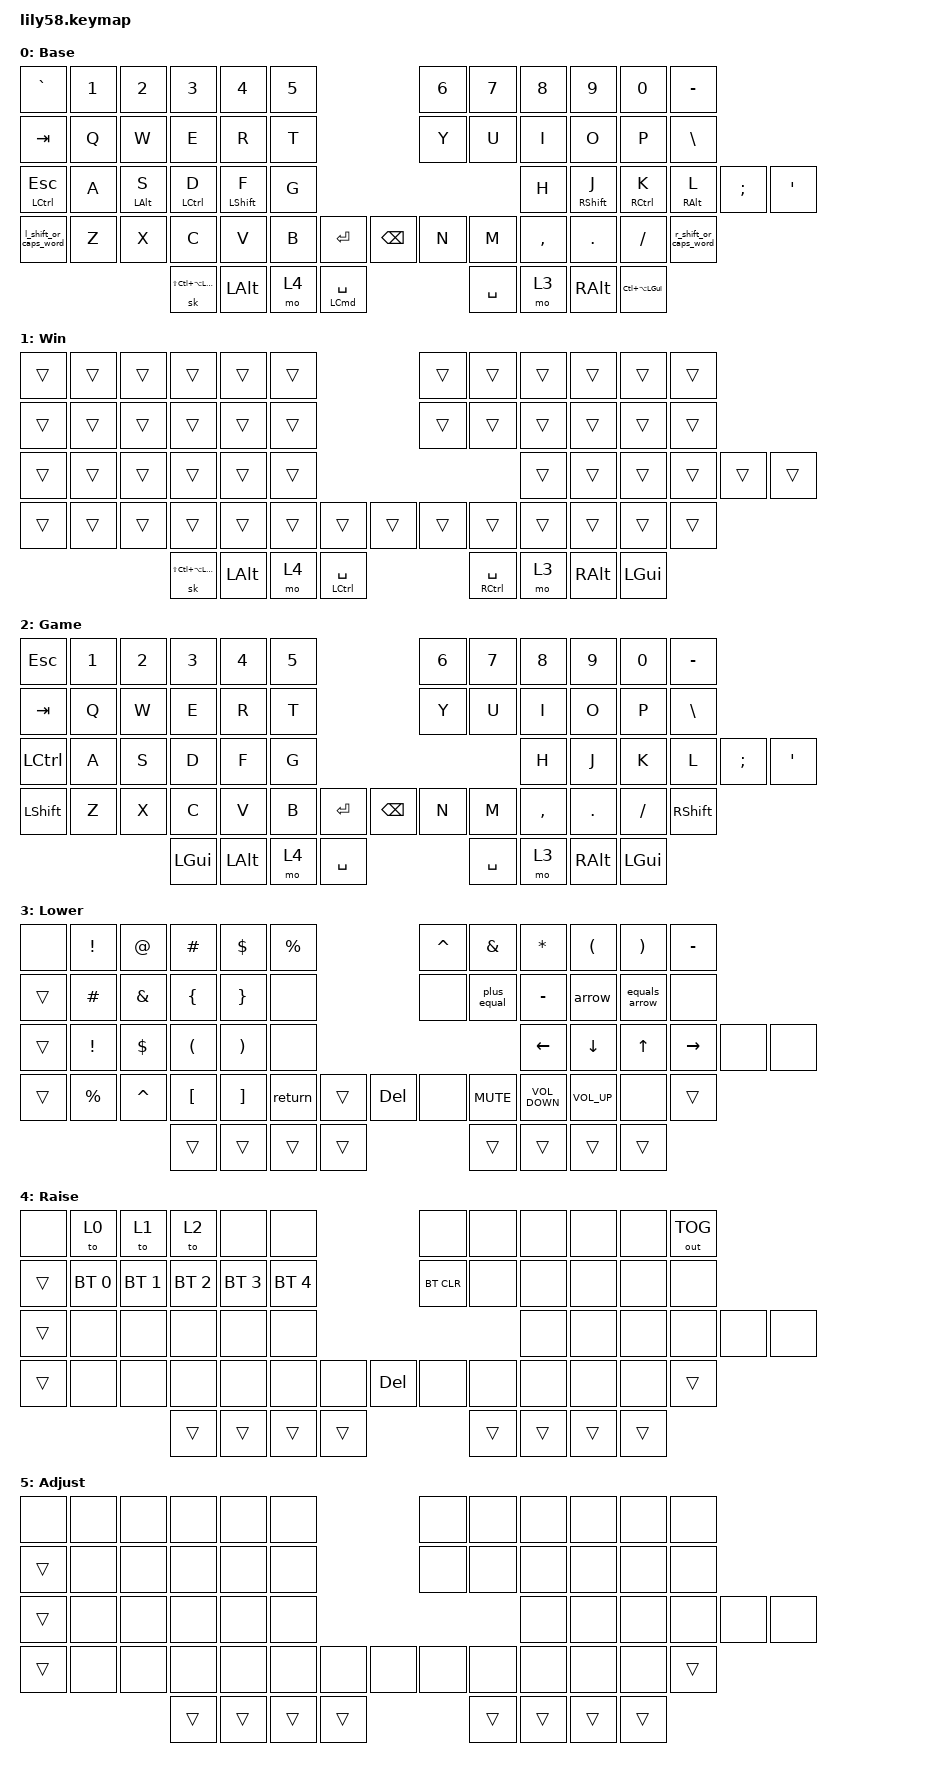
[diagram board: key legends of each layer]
/*
 * Copyright (c) 2020 The ZMK Contributors
 *
 * SPDX-License-Identifier: MIT
 */

#include <behaviors.dtsi>
#include <dt-bindings/zmk/bt.h>
#include <dt-bindings/zmk/keys.h>
#include <dt-bindings/zmk/outputs.h>

// Match QMK: TAPPING_TERM 250 + HOLD_ON_OTHER_KEY_PRESS (hold-preferred is the &mt default).
&mt {
    tapping-term-ms = <250>;
};

/ {
    behaviors {
        hrm: home_row_mod {
            compatible = "zmk,behavior-hold-tap";
            #binding-cells = <2>;
            flavor = "balanced";
            tapping-term-ms = <250>;
            require-prior-idle-ms = <150>;
            quick-tap-ms = <200>;
            bindings = <&kp>, <&kp>;
        };

        plus_equal: plus_equal {
            compatible = "zmk,behavior-mod-morph";
            #binding-cells = <0>;
            bindings = <&kp PLUS>, <&kp EQUAL>;
            mods = <(MOD_LSFT|MOD_RSFT)>;
        };

        // Tap = shift (hold to shift), double-tap = caps word.
        // Mirrors QMK's DOUBLE_TAP_SHIFT_TURNS_ON_CAPS_WORD (global) feature.
        l_shift_or_caps_word: l_shift_or_caps_word {
            compatible = "zmk,behavior-tap-dance";
            label = "L Shift or Caps Word";
            #binding-cells = <0>;
            tapping-term-ms = <250>;
            bindings = <&kp LEFT_SHIFT>, <&caps_word>;
        };

        r_shift_or_caps_word: r_shift_or_caps_word {
            compatible = "zmk,behavior-tap-dance";
            label = "R Shift or Caps Word";
            #binding-cells = <0>;
            tapping-term-ms = <250>;
            bindings = <&kp RIGHT_SHIFT>, <&caps_word>;
        };
    };

    macros {
        arrow: arrow {
            compatible = "zmk,behavior-macro";
            #binding-cells = <0>;
            bindings = <&kp MINUS &kp GREATER_THAN>;
            label = "ARROW";
        };

        equals_arrow: equals_arrow {
            compatible = "zmk,behavior-macro";
            #binding-cells = <0>;
            bindings = <&kp EQUAL &kp GREATER_THAN>;
            label = "EQUALS_ARROW";
        };

        return: return {
            compatible = "zmk,behavior-macro";
            #binding-cells = <0>;
            bindings = <&kp R &kp E &kp T &kp U &kp R &kp N>;
            label = "RETURN";
        };
    };

    // Windows shortcuts — active only on the Win (1) layer.
    combos {
        compatible = "zmk,combos";

        combo_win_key {
            bindings = <&kp LEFT_WIN>;
            timeout-ms = <170>;
            key-positions = <53 54>;
            layers = <1>;
        };

        combo_quit {
            bindings = <&kp LA(F4)>;
            timeout-ms = <170>;
            key-positions = <53 13>;
            layers = <1>;
        };

        combo_lock {
            bindings = <&kp LG(L)>;
            key-positions = <53 13 24>;
            timeout-ms = <200>;
            layers = <1>;
        };

        combo_lock_right {
            bindings = <&kp LG(L)>;
            key-positions = <13 24 54>;
            timeout-ms = <200>;
            layers = <1>;
        };

        combo_ctrl_alt_delete {
            bindings = <&kp LA(LC(ESCAPE))>;
            key-positions = <53 51 24>;
            timeout-ms = <200>;
            layers = <1>;
        };

        combo_halt_alt {
            bindings = <&kp LA(LC(ESCAPE))>;
            key-positions = <51 54 24>;
            timeout-ms = <200>;
            layers = <1>;
        };

        combo_screen_shot {
            bindings = <&kp LG(LS(S))>;
            key-positions = <53 4 36>;
            timeout-ms = <170>;
            layers = <1>;
        };
    };

    conditional_layers {
        compatible = "zmk,conditional-layers";

        adjust_layer {
            if-layers = <3 4>;
            then-layer = <5>;
        };
    };

    keymap {
        compatible = "zmk,keymap";

        // Layer 0 — Base (macOS / QWERTY)
        Base {
            display-name = "Base";
            bindings = <
&kp GRAVE              &kp N1  &kp N2  &kp N3  &kp N4  &kp N5                                       &kp N6  &kp N7  &kp N8     &kp N9   &kp N0    &kp MINUS
&kp TAB                &kp Q   &kp W   &kp E   &kp R   &kp T                                        &kp Y   &kp U   &kp I      &kp O    &kp P     &kp BACKSLASH
&mt LCTRL ESCAPE       &kp A   &hrm LALT S   &hrm LCTRL D   &hrm LSHFT F   &kp G                    &kp H   &hrm RSHFT J   &hrm RCTRL K   &hrm RALT L   &kp SEMI  &kp SQT
&l_shift_or_caps_word  &kp Z   &kp X   &kp C   &kp V   &kp B   &kp ENTER          &kp BACKSPACE     &kp N   &kp M   &kp COMMA  &kp DOT  &kp FSLH  &r_shift_or_caps_word
                                       &sk LS(LC(LA(LGUI)))  &kp LALT  &mo 4  &mt LEFT_COMMAND SPACE    &kp SPACE  &mo 3  &kp RIGHT_ALT  &kp LC(LA(LGUI))
            >;
        };

        // Layer 1 — Windows
        Win {
            display-name = "Win";
            bindings = <
&trans  &trans  &trans  &trans  &trans  &trans                                        &trans  &trans  &trans  &trans  &trans  &trans
&trans  &trans  &trans  &trans  &trans  &trans                                        &trans  &trans  &trans  &trans  &trans  &trans
&trans  &trans  &trans  &trans  &trans  &trans                                        &trans  &trans  &trans  &trans  &trans  &trans
&trans  &trans  &trans  &trans  &trans  &trans  &trans              &trans            &trans  &trans  &trans  &trans  &trans  &trans
                        &sk LS(LC(LA(LGUI)))  &kp LALT  &mo 4  &mt LCTRL SPACE    &mt RCTRL SPACE  &mo 3  &kp RIGHT_ALT  &kp LGUI
            >;
        };

        // Layer 2 — Game (plain modifiers, no mod-taps, for responsiveness)
        Game {
            display-name = "Game";
            bindings = <
&kp ESC    &kp N1  &kp N2  &kp N3  &kp N4  &kp N5                                    &kp N6  &kp N7  &kp N8     &kp N9   &kp N0    &kp MINUS
&kp TAB    &kp Q   &kp W   &kp E   &kp R   &kp T                                     &kp Y   &kp U   &kp I      &kp O    &kp P     &kp BACKSLASH
&kp LCTRL  &kp A   &kp S   &kp D   &kp F   &kp G                                     &kp H   &kp J   &kp K      &kp L    &kp SEMI  &kp SQT
&kp LSHFT  &kp Z   &kp X   &kp C   &kp V   &kp B   &kp ENTER          &kp BACKSPACE  &kp N   &kp M   &kp COMMA  &kp DOT  &kp FSLH  &kp RSHFT
                                   &kp LGUI  &kp LALT  &mo 4  &kp SPACE    &kp SPACE  &mo 3  &kp RIGHT_ALT  &kp LGUI
            >;
        };

        // Layer 3 — Lower (symbols / arrows / media)
        Lower {
            display-name = "Lower";
            bindings = <
&none   &kp EXCLAMATION  &kp AT_SIGN    &kp HASH              &kp DOLLAR             &kp PERCENT                        &kp CARET       &kp AMPERSAND  &kp ASTERISK       &kp LEFT_PARENTHESIS  &kp RIGHT_PARENTHESIS  &kp MINUS
&trans  &kp HASH         &kp AMPERSAND  &kp LEFT_BRACE        &kp RIGHT_BRACE        &none                              &none           &plus_equal    &kp MINUS          &arrow                &equals_arrow          &none
&trans  &kp EXCLAMATION  &kp DOLLAR     &kp LEFT_PARENTHESIS  &kp RIGHT_PARENTHESIS  &none                              &kp LEFT_ARROW  &kp DOWN       &kp UP_ARROW       &kp RIGHT             &none                  &none
&trans  &kp PERCENT      &kp CARET      &kp LEFT_BRACKET      &kp RIGHT_BRACKET      &return      &trans    &kp DELETE  &none           &kp K_MUTE     &kp C_VOLUME_DOWN  &kp C_VOLUME_UP       &none                  &trans
                                        &trans                &trans                 &trans       &trans    &trans      &trans          &trans         &trans
            >;
        };

        // Layer 4 — Raise (layer switching + Bluetooth / output management)
        Raise {
            display-name = "Raise";
            bindings = <
&none   &to 0         &to 1         &to 2         &none         &none                              &none       &none   &none   &none    &none    &out OUT_TOG
&trans  &bt BT_SEL 0  &bt BT_SEL 1  &bt BT_SEL 2  &bt BT_SEL 3  &bt BT_SEL 4                       &bt BT_CLR  &none   &none   &none    &none    &none
&trans  &none         &none         &none         &none         &none                              &none       &none   &none   &none    &none    &none
&trans  &none         &none         &none         &none         &none         &none    &kp DELETE  &none       &none   &none   &none    &none    &trans
                                    &trans        &trans        &trans        &trans   &trans      &trans      &trans  &trans
            >;
        };

        Adjust {
            display-name = "Adjust";
            bindings = <
&none   &none  &none  &none  &none  &none                    &none  &none  &none  &none  &none  &none
&trans  &none  &none  &none  &none  &none                    &none  &none  &none  &none  &none  &none
&trans  &none  &none  &none  &none  &none                    &none  &none  &none  &none  &none  &none
&trans  &none  &none  &none  &none  &none  &none      &none  &none  &none  &none  &none  &none  &trans
                      &trans &trans &trans &trans    &trans &trans &trans &trans
            >;
        };
    };
};
